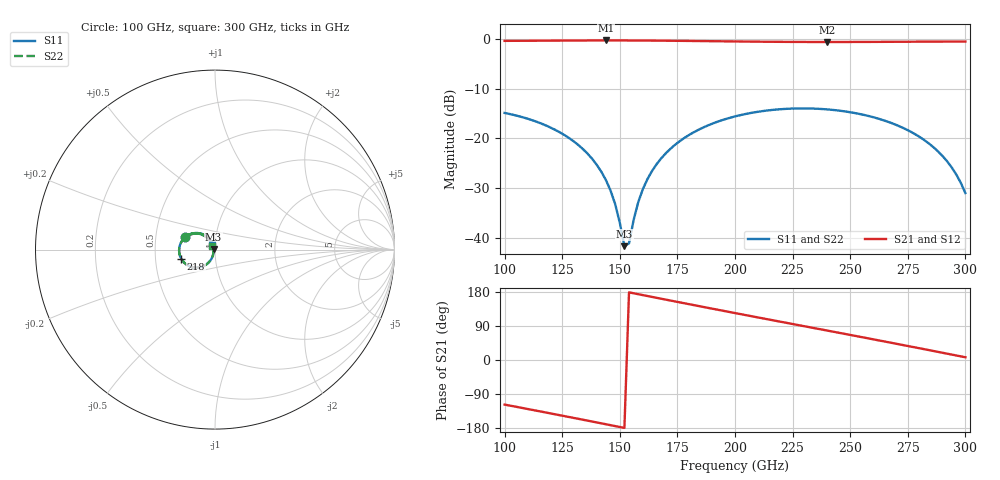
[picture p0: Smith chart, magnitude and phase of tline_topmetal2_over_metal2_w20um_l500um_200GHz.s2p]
#  GHZ S DB R 50
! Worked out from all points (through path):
!   101 points, 100 GHz to 300 GHz, reference 50 ohm
!   highest |S21| = -0.35 dB at 144 GHz (marker M1); lowest = -0.7 dB at 240 GHz (marker M2)
!   group delay of S21, straight-line fit = 3.26 ps
!   lowest |S11| = -41.6 dB at 152 GHz (marker M3), VSWR 1.02, Z = 49.2 + j0.321 ohm
!   |S11| at or under -10 dB: start of sweep to end of sweep
!   |S22| runs from -41.4 to -14.0 dB; largest |S21 - S12| = 1.6e-13
!   S11 on the Smith chart (normalised r, x): 100 GHz: 0.71, +0.10; 218 GHz: 0.68, -0.07; 300 GHz: 0.97, +0.04
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100  -14.89 157.0  -0.43 -117.7  -0.43 -117.7  -14.90 157.1
120  -17.84 134.5  -0.39 -141.0  -0.39 -141.0  -17.84 134.7
134  -22.14 120.0  -0.36 -157.6  -0.36 -157.6  -22.15 120.4
140  -25.30 115.3  -0.35 -164.8  -0.35 -164.8  -25.31 115.8
144  -28.39 113.9  -0.35 -169.6  -0.35 -169.6  -28.41 114.6
148  -33.20 117.8  -0.35 -174.4  -0.35 -174.4  -33.21 118.8
152  -41.62 156.9  -0.35 -179.2  -0.35 -179.2  -41.39 159.0
154  -41.05 -146.5  -0.36 178.4  -0.36 178.4  -40.71 -146.5
156  -36.36 -121.0  -0.36 176.0  -0.36 176.0  -36.19 -121.6
160  -30.18 -110.3  -0.37 171.2  -0.37 171.2  -30.12 -110.7
168  -23.99 -112.7  -0.39 161.7  -0.39 161.7  -23.96 -112.8
182  -18.79 -126.0  -0.46 145.0  -0.46 145.0  -18.78 -125.9
200  -15.59 -145.4  -0.55 123.9  -0.55 123.9  -15.58 -145.3
218  -14.21 -165.1  -0.62 103.0  -0.62 103.0  -14.20 -165.0
234  -14.02 177.4  -0.66 84.6  -0.66 84.6  -14.01 177.6
240  -14.18 170.9  -0.66 77.7  -0.66 77.7  -14.17 171.1
254  -15.09 155.7  -0.65 61.5  -0.65 61.5  -15.08 156.0
268  -16.93 140.9  -0.62 45.2  -0.62 45.2  -16.93 141.3
280  -19.67 129.1  -0.60 31.1  -0.60 31.1  -19.66 129.6
288  -22.55 122.7  -0.58 21.6  -0.58 21.6  -22.53 123.3
294  -25.78 120.3  -0.58 14.4  -0.58 14.4  -25.75 121.1
300  -30.96 125.8  -0.57 7.2  -0.57 7.2  -30.87 127.0
